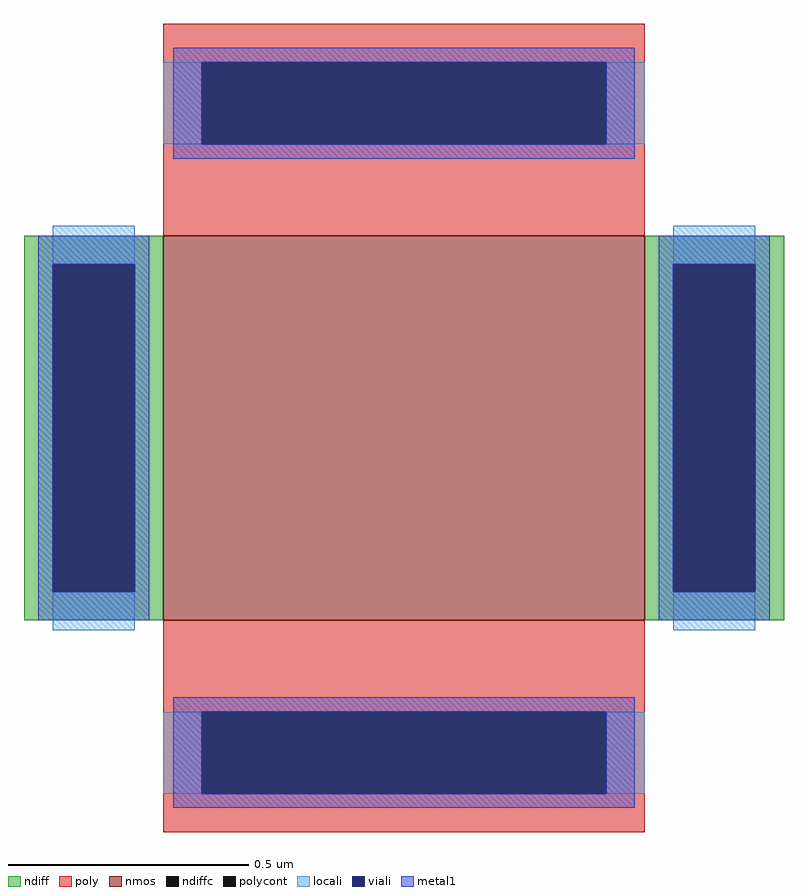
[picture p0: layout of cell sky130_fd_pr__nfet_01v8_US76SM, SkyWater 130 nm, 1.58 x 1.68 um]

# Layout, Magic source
magic
tech sky130A
<< nmos >>
rect -50 -40 50 40
<< ndiff >>
rect -79 34 -50 40
rect -79 -34 -73 34
rect -56 -34 -50 34
rect -79 -40 -50 -34
rect 50 34 79 40
rect 50 -34 56 34
rect 73 -34 79 34
rect 50 -40 79 -34
<< ndiffc >>
rect -73 -34 -56 34
rect 56 -34 73 34
<< poly >>
rect -50 76 50 84
rect -50 59 -42 76
rect 42 59 50 76
rect -50 40 50 59
rect -50 -59 50 -40
rect -50 -76 -42 -59
rect 42 -76 50 -59
rect -50 -84 50 -76
<< polycont >>
rect -42 59 42 76
rect -42 -76 42 -59
<< locali >>
rect -50 59 -42 76
rect 42 59 50 76
rect -73 34 -56 42
rect -73 -42 -56 -34
rect 56 34 73 42
rect 56 -42 73 -34
rect -50 -76 -42 -59
rect 42 -76 50 -59
<< viali >>
rect -42 59 42 76
rect -73 -34 -56 34
rect 56 -34 73 34
rect -42 -76 42 -59
<< metal1 >>
rect -48 76 48 79
rect -48 59 -42 76
rect 42 59 48 76
rect -48 56 48 59
rect -76 34 -53 40
rect -76 -34 -73 34
rect -56 -34 -53 34
rect -76 -40 -53 -34
rect 53 34 76 40
rect 53 -34 56 34
rect 73 -34 76 34
rect 53 -40 76 -34
rect -48 -59 48 -56
rect -48 -76 -42 -59
rect 42 -76 48 -59
rect -48 -79 48 -76
<< properties >>
string gencell sky130_fd_pr__nfet_01v8
string library sky130
string parameters w 0.8 l 1 m 1 nf 1 diffcov 100 polycov 100 guard 0 glc 1 grc 1 gtc 1 gbc 1 tbcov 100 rlcov 100 topc 1 botc 1 poverlap 1 doverlap 1 lmin 0.15 wmin 0.42 compatible {sky130_fd_pr__nfet_01v8 sky130_fd_pr__nfet_01v8_lvt  sky130_fd_bs_flash__special_sonosfet_star  sky130_fd_pr__nfet_g5v0d10v5 sky130_fd_pr__nfet_05v0_nvt  sky130_fd_pr__nfet_03v3_nvt} full_metal 1 viasrc 100 viadrn 100 viagate 100 viagb 0 viagr 0 viagl 0 viagt 0
<< end >>
